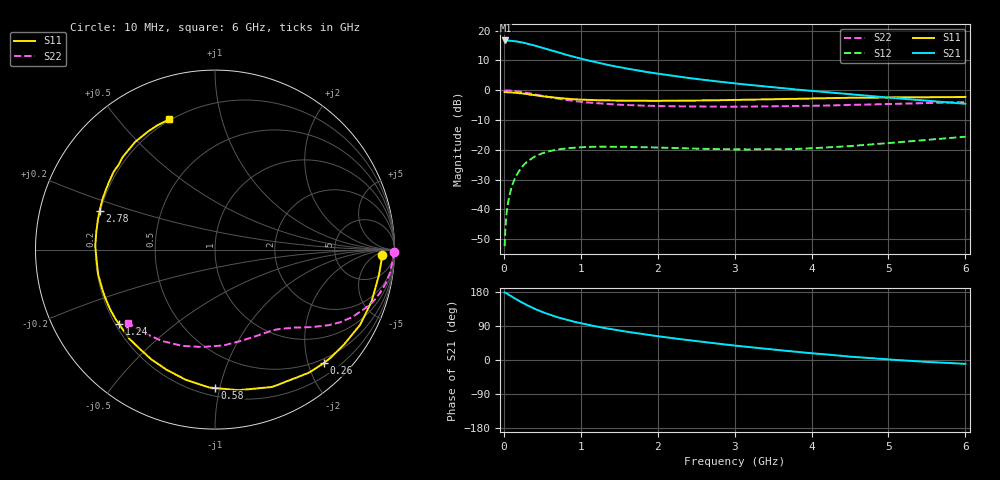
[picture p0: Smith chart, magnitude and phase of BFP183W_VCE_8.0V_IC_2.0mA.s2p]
! Infineon Technologies  Discrete & RF Semiconductors
! BFP183W
! VCE = 8.0 V,  IC =  2.0 mA
! Common Emitter S-Parameters:  Jan 2016
# GHz  S  MA  R  50
!  f  S11  S21  S12  S22
! GHz  MAG  ANG  MAG  ANG  MAG  ANG  MAG  ANG
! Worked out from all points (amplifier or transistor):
!   210 points, 10 MHz to 6 GHz, reference 50 ohm
!   highest |S21| = 16.7 dB at 20 MHz (marker M1)
!   |S21| within 3 dB of that: start of sweep to 571.6 MHz
!   unconditionally stable (mu >= 1): 2.42 GHz to end of sweep
!   at 185 MHz: K = 0.09, MSG = 22.0 dB, |S12| = -27.7 dB
!   at 1.52 GHz: K = 0.64, MSG = 13.3 dB, |S12| = -19.0 dB
!   at 6 GHz: K = 1.03, MAG = 4.5 dB, |S12| = -15.6 dB
!   S11 on the Smith chart (normalised r, x): 10 MHz: 23, -10; 260 MHz: 0.42, -2.27; 580 MHz: 0.25, -0.97; 1.24 GHz: 0.21, -0.33; 2.78 GHz: 0.20, +0.16; 6 GHz: 0.19, +0.69
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0.01  0.9301 -1.9  6.817 177.9  0.0024 92.9  0.9972 -0.8
0.02  0.9293 -3.7  6.848 177.6  0.0046 84.7  0.989 -1.5
0.045  0.9242 -8.4  6.837 174.5  0.0107 84.9  0.9919 -3.4
0.09  0.9181 -16.4  6.76 169.0  0.0209 79.8  0.9844 -6.8
0.15  0.9107 -27.4  6.652 161.6  0.0344 73.9  0.9694 -11.3
0.2  0.8926 -36.2  6.486 155.7  0.0443 69.5  0.9503 -14.7
0.26  0.8762 -46.3  6.258 149.4  0.0558 63.7  0.9237 -18.6
0.3  0.8627 -52.7  6.079 144.8  0.0625 60.2  0.9029 -20.9
0.4  0.8291 -67.4  5.634 135.3  0.0765 52.3  0.8535 -26.1
0.5  0.794 -80.6  5.168 126.5  0.0873 45.8  0.8043 -30.3
0.58  0.7714 -89.9  4.813 120.8  0.0934 41.2  0.7683 -33.0
0.7  0.7437 -102.6  4.351 112.7  0.101 35.5  0.7217 -36.3
0.8  0.7221 -111.8  3.972 106.9  0.1049 31.7  0.689 -38.8
1.02  0.6923 -128.4  3.33 96.2  0.1102 24.8  0.6355 -43.1
1.24  0.6769 -142.1  2.858 87.0  0.1126 20.0  0.6007 -46.8
1.6  0.6664 -159.7  2.312 74.5  0.112 15.3  0.5633 -52.1
2.02  0.6625 -176.0  1.884 62.3  0.1089 12.8  0.5421 -58.7
2.78  0.6782 161.4  1.402 43.2  0.1027 14.1  0.5284 -71.8
3.1  0.6895 153.6  1.263 36.1  0.1014 16.3  0.5293 -78.0
4.1  0.7309 133.2  0.951 16.2  0.1076 26.7  0.5492 -99.5
5.1  0.757 118.7  0.734 0.1  0.1323 34.0  0.5917 -122.4
6  0.7688 109.4  0.591 -10.2  0.1655 35.4  0.6321 -139.8
